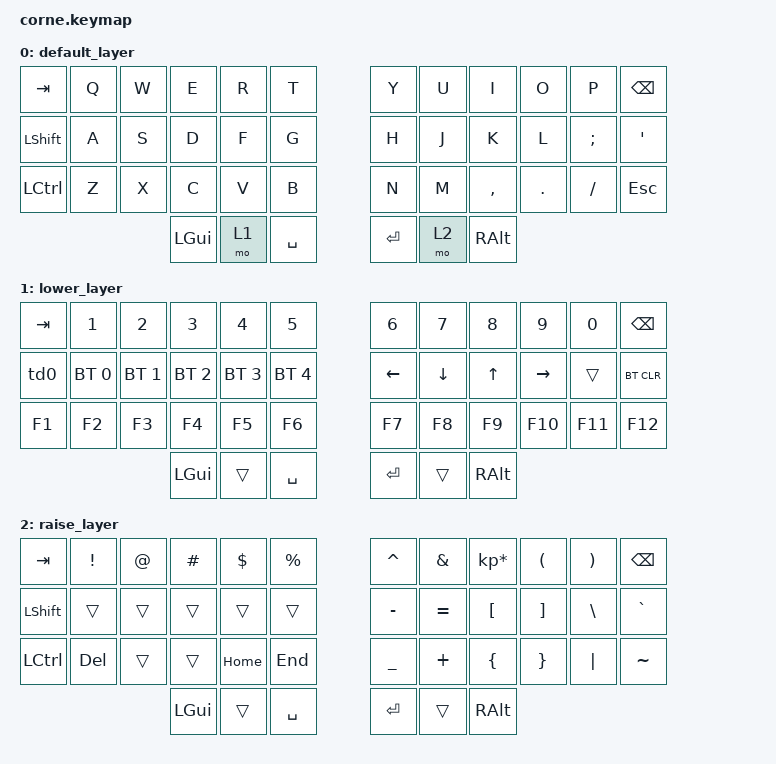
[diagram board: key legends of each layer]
/*
 * Copyright (c) 2020 The ZMK Contributors
 *
 * SPDX-License-Identifier: MIT
 */

#include <behaviors.dtsi>
#include <dt-bindings/zmk/keys.h>
#include <dt-bindings/zmk/bt.h>

/ {
    behaviors {
        td0: tap_dance_0 {
            compatible = "zmk,behavior-tap-dance";
            label = "TAP_DANCE_0";
            #binding-cells = <0>;
            tapping-term-ms = <200>;
            bindings = <&kp CAPSLOCK>;
        };
    };
        keymap {
                compatible = "zmk,keymap";

                default_layer {
// -----------------------------------------------------------------------------------------
// |  TAB |  Q  |  W  |  E  |  R  |  T  |   |  Y  |  U   |  I  |  O  |  P  | BKSP |
// | SHFT |  A  |  S  |  D  |  F  |  G  |   |  H  |  J   |  K  |  L  |  ;  |  '   |
// | CTRL |  Z  |  X  |  C  |  V  |  B  |   |  N  |  M   |  ,  |  .  |  /  | ESC  |
//                    | GUI | LWR | SPC |   | ENT | RSE  | ALT |
                        bindings = <
   &kp TAB   &kp Q &kp W &kp E &kp R &kp T   &kp Y &kp U  &kp I     &kp O   &kp P    &kp BSPC
   &kp LSHFT &kp A &kp S &kp D &kp F &kp G   &kp H &kp J  &kp K     &kp L   &kp SEMI &kp SQT
   &kp LCTRL &kp Z &kp X &kp C &kp V &kp B   &kp N &kp M  &kp COMMA &kp DOT &kp FSLH &kp ESC
                  &kp LGUI &mo 1 &kp SPACE   &kp RET &mo 2 &kp RALT
                        >;
                };
                lower_layer {
// -----------------------------------------------------------------------------------------
// |  TAB |  1  |  2  |  3  |  4  |  5  |   |  6  |  7  |  8  |  9  |  0  | BKSP |
// |      | BT1 | BT2 | BT3 | BT4 | BT5 |   | LFT | DWN |  UP | RGT |     | BTCLR|
// |  F1  | F2  | F3  | F4  | F5  | F6  |   | F7  | F8  | F9  | F10 | F11 | F12  |
//                    | GUI |     | SPC |   | ENT |     | ALT |
                        bindings = <
   &kp TAB    &kp N1       &kp N2       &kp N3       &kp N4       &kp N5         &kp N6   &kp N7   &kp N8 &kp N9    &kp N0 &kp BSPC
   &td0       &bt BT_SEL 0 &bt BT_SEL 1 &bt BT_SEL 2 &bt BT_SEL 3 &bt BT_SEL 4   &kp LEFT &kp DOWN &kp UP &kp RIGHT &trans &bt BT_CLR
   &kp F1     &kp F2       &kp F3       &kp F4       &kp F5       &kp F6         &kp F7   &kp F8   &kp F9 &kp F10   &kp F11 &kp F12
                                    &kp LGUI     &trans       &kp SPACE      &kp RET  &trans   &kp RALT
                        >;
                };

                raise_layer {
// -----------------------------------------------------------------------------------------
// |  TAB |  !  |  @  |  #  |  $   |  %  |   |  ^  |  &  |  *  |  (  |  )  | BKSP |
// | SHFT |     |     |     |      |     |   |  -  |  =  |  [  |  ]  |  \  |  `   |
// | CTRL | DEL |     |     | HOME | END |   |  _  |  +  |  {  |  }  | "|" |  ~   |
//                    | GUI |      | SPC |   | ENT |     | ALT |
                        bindings = <
   &kp  TAB  &kp EXCL &kp AT &kp HASH &kp DLLR &kp PRCNT   &kp CARET &kp AMPS  &kp KP_MULTIPLY &kp LPAR &kp RPAR &kp BSPC
   &kp LSHFT &trans   &trans &trans   &trans   &trans       &kp MINUS &kp EQUAL &kp LBKT        &kp RBKT &kp BSLH &kp GRAVE
   &kp LCTRL &kp DEL  &trans &trans   &kp HOME &kp END      &kp UNDER &kp PLUS  &kp LBRC        &kp RBRC &kp PIPE &kp TILDE
                             &kp LGUI &trans   &kp SPACE   &kp RET   &trans    &kp RALT
                        >;
                };
        };
};
